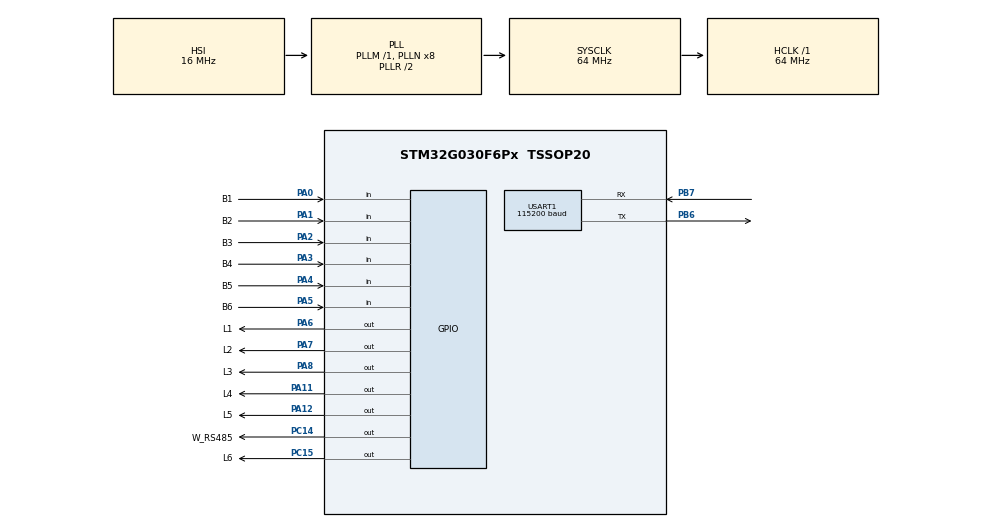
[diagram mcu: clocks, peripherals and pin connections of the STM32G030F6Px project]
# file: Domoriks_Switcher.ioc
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Dma.Request0=USART1_RX
Dma.USART1_RX.0.Direction=DMA_PERIPH_TO_MEMORY
Dma.USART1_RX.0.EventEnable=DISABLE
Dma.USART1_RX.0.Instance=DMA1_Channel1
Dma.USART1_RX.0.MemDataAlignment=DMA_MDATAALIGN_BYTE
Dma.USART1_RX.0.MemInc=DMA_MINC_ENABLE
Dma.USART1_RX.0.Mode=DMA_NORMAL
Dma.USART1_RX.0.PeriphDataAlignment=DMA_PDATAALIGN_BYTE
Dma.USART1_RX.0.PeriphInc=DMA_PINC_DISABLE
Dma.USART1_RX.0.Polarity=HAL_DMAMUX_REQ_GEN_RISING
Dma.USART1_RX.0.Priority=DMA_PRIORITY_LOW
Dma.USART1_RX.0.RequestNumber=1
Dma.USART1_RX.0.SignalID=NONE
Dma.USART1_RX.0.SyncEnable=DISABLE
Dma.USART1_RX.0.SyncPolarity=HAL_DMAMUX_SYNC_NO_EVENT
Dma.USART1_RX.0.SyncRequestNumber=1
Dma.USART1_RX.0.SyncSignalID=NONE
IWDG.Prescaler=IWDG_PRESCALER_256
IWDG.Reload=375
IWDG.Window=375
Mcu.Family=STM32G0
Mcu.Name=STM32G030F6Px
Mcu.Package=TSSOP20
NVIC.DMA1_Channel1_IRQn=true\:0\:0\:false\:false\:true\:false\:true\:true
NVIC.FLASH_IRQn=true\:0\:0\:false\:false\:true\:true\:true\:true
NVIC.TIM14_IRQn=true\:1\:0\:true\:false\:true\:true\:true\:true
NVIC.USART1_IRQn=true\:1\:0\:true\:false\:true\:true\:true\:true
PA0.GPIO_Label=B1
PA0.Signal=GPIO_Input
PA1.GPIO_Label=B2
PA1.Signal=GPIO_Input
PA11\ [PA9].GPIO_Label=L4
PA11\ [PA9].Signal=GPIO_Output
PA12\ [PA10].GPIO_Label=L5
PA12\ [PA10].Signal=GPIO_Output
PA13.Mode=Serial_Wire
PA13.Signal=SYS_SWDIO
PA14-BOOT0.Mode=Serial_Wire
PA14-BOOT0.Signal=SYS_SWCLK
PA14-BOOT0__PA15.StandardMode=true
PA2.GPIO_Label=B3
PA2.Signal=GPIO_Input
PA3.GPIO_Label=B4
PA3.Signal=GPIO_Input
PA4.GPIO_Label=B5
PA4.Signal=GPIO_Input
PA5.GPIO_Label=B6
PA5.Signal=GPIO_Input
PA6.GPIO_Label=L1
PA6.Signal=GPIO_Output
PA7.GPIO_Label=L2
PA7.Signal=GPIO_Output
PA8.GPIO_Label=L3
PA8.Signal=GPIO_Output
PB0__PB1__PB2__PA8.StandardMode=true
PB3__PB4__PB5__PB6.StandardMode=true
PB6.GPIO_FM6=SYSCFG_FASTMODEPLUS_PB6
PB6.GPIO_Speed=GPIO_SPEED_FREQ_MEDIUM
PB6.Mode=Asynchronous
PB6.Signal=USART1_TX
PB7.Mode=Asynchronous
PB7.Signal=USART1_RX
PB7__PB8.StandardMode=true
PC14-OSC32_IN\ (PC14).GPIO_Label=W_RS485
PC14-OSC32_IN\ (PC14).Signal=GPIO_Output
PC14-OSC32_IN\ (PC14)__PB9.StandardMode=true
PC15-OSC32_OUT\ (PC15).GPIO_Label=L6
PC15-OSC32_OUT\ (PC15).Signal=GPIO_Output
ProjectManager.HeapSize=0x200
ProjectManager.StackSize=0x400
ProjectManager.TargetToolchain=STM32CubeIDE
RCC.ADCFreq_Value=64000000
RCC.AHBFreq_Value=64000000
RCC.CortexFreq_Value=64000000
RCC.EXTERNAL_CLOCK_VALUE=12288000
RCC.HCLKFreq_Value=64000000
RCC.HSE_VALUE=8000000
RCC.HSI_VALUE=16000000
RCC.LSE_VALUE=32768
RCC.SYSCLKFreq_VALUE=64000000
RCC.SYSCLKSource=RCC_SYSCLKSOURCE_PLLCLK
RCC.USART1CLockSelection=RCC_USART1CLKSOURCE_SYSCLK
RCC.VCOOutputFreq_Value=128000000
TIM14.AutoReloadPreload=TIM_AUTORELOAD_PRELOAD_ENABLE
TIM14.Period=39999
TIM14.Prescaler=15
USART1.BaudRate=115200
USART1.DMADisableonRxErrorParam=ADVFEATURE_DMA_DISABLEONRXERROR
USART1.OverSampling=UART_OVERSAMPLING_16
USART1.VirtualMode-Asynchronous=VM_ASYNC
VP_IWDG_VS_IWDG.Mode=IWDG_Activate
VP_TIM14_VS_ClockSourceINT.Mode=Enable_Timer
board=custom

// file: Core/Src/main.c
/* USER CODE BEGIN Header */
/**
  ******************************************************************************
  * @file           : main.c
  * @brief          : Main program body
  ******************************************************************************
  * @attention
  *
  * Copyright (c) 2022 STMicroelectronics.
  * All rights reserved.
  *
  * This software is licensed under terms that can be found in the LICENSE file
  * in the root directory of this software component.
  * If no LICENSE file comes with this software, it is provided AS-IS.
  *
  ******************************************************************************
  */
/* USER CODE END Header */
#include "main.h"

/* USER CODE BEGIN Includes */
#include <stdbool.h>
#include <stdint.h>

#include "timer.h"

#include "Actions/actions.h"
#include "Flash/flash.h"

#include "IO/inputs.h"
#include "IO/input_handler.h"

#include "IO/outputs.h"

#include "Modbus/modbus.h"
#include "Modbus/modbusm.h"
#include "Modbus/modbus_ascii.h"
#include "Modbus/modbus_rtu.h"
#include "Modbus/modbusm_handler.h"

#include "Actions/actions.h"
/* USER CODE END Includes */

IWDG_HandleTypeDef hiwdg;

TIM_HandleTypeDef htim14;

UART_HandleTypeDef huart1;
DMA_HandleTypeDef hdma_usart1_rx;

void SystemClock_Config(void);
static void MX_GPIO_Init(void);
static void MX_DMA_Init(void);
static void MX_USART1_UART_Init(void);
static void MX_TIM14_Init(void);
static void MX_IWDG_Init(void);

/* USER CODE BEGIN 0 */
uint8_t MODBUS_ID;
//#define UPLOAD_NEW_MODBUS_ID
#ifdef UPLOAD_NEW_MODBUS_ID
  __attribute__((section(".modbus_id"))) const uint8_t new_id = 1;  // Logic ID, e.g., 1
#endif
//#define NEWACTIONS

uint8_t uart_rxBuffer[UART_BUFFER_SIZE] = { 0 };
uint8_t new_rxdata = 0;
uint16_t rxDataLen = 0;

/* USER CODE END 0 */

int main(void)
{

  /* MCU Configuration--------------------------------------------------------*/

  /* Reset of all peripherals, Initializes the Flash interface and the Systick. */
  HAL_Init();

  /* Configure the system clock */
  SystemClock_Config();

  /* Initialize all configured peripherals */
  MX_GPIO_Init();
  MX_DMA_Init();
  MX_USART1_UART_Init();
  MX_TIM14_Init();
  MX_IWDG_Init();
  /* USER CODE BEGIN 2 */
  HAL_TIM_Base_Start_IT(&htim14);

  HAL_UARTEx_ReceiveToIdle_DMA(&huart1, uart_rxBuffer, UART_BUFFER_SIZE);
  __HAL_UART_ENABLE_IT(&huart1, UART_IT_IDLE);
  __HAL_DMA_DISABLE_IT(&hdma_usart1_rx, DMA_IT_HT);

  MODBUS_ID = *(uint8_t*)MODBUS_ID_ADDRESS;

  HAL_GPIO_WritePin(L6_GPIO_Port, L6_Pin, 0);
  HAL_GPIO_WritePin(L5_GPIO_Port, L5_Pin, 0);
  HAL_GPIO_WritePin(L4_GPIO_Port, L4_Pin, 0);
  HAL_GPIO_WritePin(L3_GPIO_Port, L3_Pin, 0);
  HAL_GPIO_WritePin(L2_GPIO_Port, L2_Pin, !0);
  HAL_GPIO_WritePin(L1_GPIO_Port, L1_Pin, !0);
  HAL_IWDG_Refresh(&hiwdg);
  HAL_Delay(500);

  for (int i = 0; i < MODBUS_ID / 10; i++)
  {
	  HAL_IWDG_Refresh(&hiwdg);
	  HAL_GPIO_WritePin(L1_GPIO_Port, L1_Pin, !1);
	  HAL_Delay(250);
	  HAL_GPIO_WritePin(L1_GPIO_Port, L1_Pin, !0);
	  HAL_Delay(150);
  }

  HAL_IWDG_Refresh(&hiwdg);
  HAL_Delay(500);

  for (int i = 0; i < MODBUS_ID % 10; i++)
  {
	  HAL_IWDG_Refresh(&hiwdg);
	  HAL_GPIO_WritePin(L1_GPIO_Port, L1_Pin, !1);
	  HAL_Delay(250);
	  HAL_GPIO_WritePin(L1_GPIO_Port, L1_Pin, !0);
	  HAL_Delay(150);
  }

  HAL_IWDG_Refresh(&hiwdg);
  uint32_t timer_blink = TIMER_SET();
  HAL_GPIO_WritePin(W_RS485_GPIO_Port, W_RS485_Pin, 0); //Set RS485 in read mode

#ifdef NEWACTIONS

//	Action action;
//	Action delayAction;
//	uint32_t delay;
//	uint8_t pwm;
//	uint8_t id;
//	uint8_t output;      //current domoriks devices only have a max of 6 outputs increase if needed
//	uint8_t send;		   //1 = output, 2 feature, 3 send extraEvent;
//	uint8_t extraEventId;

  EventAction input1_singlePress = { toggle, 0, 0, 100, 64, 1, 0, 1 };
  EventAction extraAction1 =	   { toggle, 0, 0, 100, 64, 2, 0, 2 };
  EventAction extraAction2 =       { toggle, 0, 0, 100, 64, 3, 0, 3 };
  EventAction extraAction3 =       { toggle, 0, 0, 100, 64, 4, 0, 4 };
  EventAction extraAction4 =       { toggle, 0, 0, 100, 64, 5, 0, 5 };
  EventAction extraAction5 =       { toggle, 0, 0, 100, 64, 6, 0, 6 };
  EventAction extraAction6 =       { toggle, 0, 0, 100, 64, 7, 0, 7 };
  EventAction extraAction7 =       { toggle, 0, 0, 100, 64, 8, 0, 8 };
  EventAction extraAction8 =       { toggle, 0, 0, 100, 64, 9, 0, 9 };
  EventAction extraAction9 =       { toggle, 0, 0, 100, 64, 10, 0, 10 };
  EventAction extraAction10 =      { toggle, 0, 0, 100, 64, 11, 0, 11 };
  EventAction extraAction11 =      { toggle, 0, 0, 100, 64, 12, 0, 12 };
  EventAction extraAction12 =      { toggle, 0, 0, 100, 64, 13, 0, 13 };
  EventAction extraAction13 =      { toggle, 0, 0, 100, 64, 14, 0, 14 };
  EventAction extraAction14 =      { toggle, 0, 0, 100, 64, 15, 0, 15 };
  EventAction extraAction15 =      { toggle, 0, 0, 100, 64, 16, 0, 0 };

  memcpy((uint8_t*)&inputActions[0].singlePress, (uint8_t*)&input1_singlePress, sizeof(EventAction));
//  memcpy((uint8_t*)&inputActions[1].singlePress, (uint8_t*)&input2_singlePress, sizeof(EventAction));
//  memcpy((uint8_t*)&inputActions[2].singlePress, (uint8_t*)&input3_singlePress, sizeof(EventAction));
//  memcpy((uint8_t*)&inputActions[3].singlePress, (uint8_t*)&input4_singlePress, sizeof(EventAction));

  //memcpy((uint8_t*)&inputActions[0].doublePress, (uint8_t*)&input1_doublePress, sizeof(EventAction));
//  memcpy((uint8_t*)&inputActions[1].doublePress, (uint8_t*)&input2_doublePress, sizeof(EventAction));
//  memcpy((uint8_t*)&inputActions[2].doublePress, (uint8_t*)&input3_doublePress, sizeof(EventAction));
//  memcpy((uint8_t*)&inputActions[3].doublePress, (uint8_t*)&input4_doublePress, sizeof(EventAction));

  //memcpy((uint8_t*)&inputActions[0].longPress, (uint8_t*)&input1_longPress, sizeof(EventAction));
//  memcpy((uint8_t*)&inputActions[1].longPress, (uint8_t*)&input2_longPress, sizeof(EventAction));
//  memcpy((uint8_t*)&inputActions[2].longPress, (uint8_t*)&input3_longPress, sizeof(EventAction));
//  memcpy((uint8_t*)&inputActions[3].longPress, (uint8_t*)&input4_longPress, sizeof(EventAction));

  memcpy((uint8_t*)&extraActions[0], (uint8_t*)&extraAction1, sizeof(EventAction));
  memcpy((uint8_t*)&extraActions[1], (uint8_t*)&extraAction2, sizeof(EventAction));
  memcpy((uint8_t*)&extraActions[2], (uint8_t*)&extraAction3, sizeof(EventAction));
  memcpy((uint8_t*)&extraActions[3], (uint8_t*)&extraAction4, sizeof(EventAction));
  memcpy((uint8_t*)&extraActions[4], (uint8_t*)&extraAction5, sizeof(EventAction));
  memcpy((uint8_t*)&extraActions[5], (uint8_t*)&extraAction6, sizeof(EventAction));
  memcpy((uint8_t*)&extraActions[6], (uint8_t*)&extraAction7, sizeof(EventAction));
  memcpy((uint8_t*)&extraActions[7], (uint8_t*)&extraAction8, sizeof(EventAction));
  memcpy((uint8_t*)&extraActions[8], (uint8_t*)&extraAction9, sizeof(EventAction));
  memcpy((uint8_t*)&extraActions[9], (uint8_t*)&extraAction10, sizeof(EventAction));
  memcpy((uint8_t*)&extraActions[10], (uint8_t*)&extraAction11, sizeof(EventAction));
  memcpy((uint8_t*)&extraActions[11], (uint8_t*)&extraAction12, sizeof(EventAction));
  memcpy((uint8_t*)&extraActions[12], (uint8_t*)&extraAction13, sizeof(EventAction));
  memcpy((uint8_t*)&extraActions[13], (uint8_t*)&extraAction14, sizeof(EventAction));
  memcpy((uint8_t*)&extraActions[14], (uint8_t*)&extraAction15, sizeof(EventAction));

  Flash_Erase(USERDATA_ORIGIN, USERDATA_LENGTH);
  Flash_WriteInputs(inputs);
  Flash_WriteInputActions(inputActions);
  Flash_WriteExtraActions(extraActions);
  Flash_WriteOutputs(outputs);
#endif

  Flash_ReadInputs(inputs);
  Flash_ReadInputActions(inputActions);
  Flash_ReadExtraActions(extraActions);
  Flash_ReadOutputs(outputs);

  /* USER CODE END 2 */

  /* Infinite loop */
  /* USER CODE BEGIN WHILE */
  HAL_TIM_Base_Start_IT(&htim14);

  while (1)
  {
	//feed the dog
	HAL_IWDG_Refresh(&hiwdg); 		//375 * 8ms = 3sec
									//256ms 32 * (32000khz/256=8ms) OLD

    //call every 10ms
    //GLOBAL_TIMER_TICK(); -> interrupt (done in stm32g0xxit.c)

    if (TIMER_ELAPSED_MS(timer_blink, 1000)) {
      timer_blink = TIMER_SET();

    }
    //read inputs
    update_inputs();

    //input handler
    input_handler();

    //prep registers
    modbus_get_outputs();

    //modbus RS485
    modbus();

    //Parse single output
    modbus_set_outputs();

    modbus_parse_register(); // always after set. this write outputs directly
    modbus_parse_action_update();

    //write outputs
    update_outputs();
    /* USER CODE END WHILE */

  }
}

void SystemClock_Config(void)
{
  RCC_OscInitTypeDef RCC_OscInitStruct = {0};
  RCC_ClkInitTypeDef RCC_ClkInitStruct = {0};

  /** Configure the main internal regulator output voltage
  */
  HAL_PWREx_ControlVoltageScaling(PWR_REGULATOR_VOLTAGE_SCALE1);

  /** Initializes the RCC Oscillators according to the specified parameters
  * in the RCC_OscInitTypeDef structure.
  */
  RCC_OscInitStruct.OscillatorType = RCC_OSCILLATORTYPE_HSI|RCC_OSCILLATORTYPE_LSI;
  RCC_OscInitStruct.HSIState = RCC_HSI_ON;
  RCC_OscInitStruct.HSIDiv = RCC_HSI_DIV1;
  RCC_OscInitStruct.HSICalibrationValue = RCC_HSICALIBRATION_DEFAULT;
  RCC_OscInitStruct.LSIState = RCC_LSI_ON;
  RCC_OscInitStruct.PLL.PLLState = RCC_PLL_ON;
  RCC_OscInitStruct.PLL.PLLSource = RCC_PLLSOURCE_HSI;
  RCC_OscInitStruct.PLL.PLLM = RCC_PLLM_DIV1;
  RCC_OscInitStruct.PLL.PLLN = 8;
  RCC_OscInitStruct.PLL.PLLP = RCC_PLLP_DIV2;
  RCC_OscInitStruct.PLL.PLLR = RCC_PLLR_DIV2;
  if (HAL_RCC_OscConfig(&RCC_OscInitStruct) != HAL_OK)
  {
    Error_Handler();
  }

  /** Initializes the CPU, AHB and APB buses clocks
  */
  RCC_ClkInitStruct.ClockType = RCC_CLOCKTYPE_HCLK|RCC_CLOCKTYPE_SYSCLK
                              |RCC_CLOCKTYPE_PCLK1;
  RCC_ClkInitStruct.SYSCLKSource = RCC_SYSCLKSOURCE_PLLCLK;
  RCC_ClkInitStruct.AHBCLKDivider = RCC_SYSCLK_DIV1;
  RCC_ClkInitStruct.APB1CLKDivider = RCC_HCLK_DIV1;

  if (HAL_RCC_ClockConfig(&RCC_ClkInitStruct, FLASH_LATENCY_2) != HAL_OK)
  {
    Error_Handler();
  }
}

static void MX_IWDG_Init(void)
{

  hiwdg.Instance = IWDG;
  hiwdg.Init.Prescaler = IWDG_PRESCALER_256;
  hiwdg.Init.Window = 375;
  hiwdg.Init.Reload = 375;
  if (HAL_IWDG_Init(&hiwdg) != HAL_OK)
  {
    Error_Handler();
  }

}

static void MX_TIM14_Init(void)
{

  htim14.Instance = TIM14;
  htim14.Init.Prescaler = 15;
  htim14.Init.CounterMode = TIM_COUNTERMODE_UP;
  htim14.Init.Period = 39999;
  htim14.Init.ClockDivision = TIM_CLOCKDIVISION_DIV1;
  htim14.Init.AutoReloadPreload = TIM_AUTORELOAD_PRELOAD_ENABLE;
  if (HAL_TIM_Base_Init(&htim14) != HAL_OK)
  {
    Error_Handler();
  }

}

static void MX_USART1_UART_Init(void)
{

  huart1.Instance = USART1;
  huart1.Init.BaudRate = 115200;
  huart1.Init.WordLength = UART_WORDLENGTH_8B;
  huart1.Init.StopBits = UART_STOPBITS_1;
  huart1.Init.Parity = UART_PARITY_NONE;
  huart1.Init.Mode = UART_MODE_TX_RX;
  huart1.Init.HwFlowCtl = UART_HWCONTROL_NONE;
  huart1.Init.OverSampling = UART_OVERSAMPLING_16;
  huart1.Init.OneBitSampling = UART_ONE_BIT_SAMPLE_DISABLE;
  huart1.Init.ClockPrescaler = UART_PRESCALER_DIV1;
  huart1.AdvancedInit.AdvFeatureInit = UART_ADVFEATURE_DMADISABLEONERROR_INIT;
  huart1.AdvancedInit.DMADisableonRxError = UART_ADVFEATURE_DMA_DISABLEONRXERROR;
  if (HAL_UART_Init(&huart1) != HAL_OK)
  {
    Error_Handler();
  }
  if (HAL_UARTEx_SetTxFifoThreshold(&huart1, UART_TXFIFO_THRESHOLD_1_8) != HAL_OK)
  {
    Error_Handler();
  }
  if (HAL_UARTEx_SetRxFifoThreshold(&huart1, UART_RXFIFO_THRESHOLD_1_8) != HAL_OK)
  {
    Error_Handler();
  }
  if (HAL_UARTEx_DisableFifoMode(&huart1) != HAL_OK)
  {
    Error_Handler();
  }

}

static void MX_DMA_Init(void)
{

  /* DMA controller clock enable */
  __HAL_RCC_DMA1_CLK_ENABLE();

  /* DMA interrupt init */
  /* DMA1_Channel1_IRQn interrupt configuration */
  HAL_NVIC_SetPriority(DMA1_Channel1_IRQn, 0, 0);
  HAL_NVIC_EnableIRQ(DMA1_Channel1_IRQn);

}

static void MX_GPIO_Init(void)
{
  GPIO_InitTypeDef GPIO_InitStruct = {0};

  /* GPIO Ports Clock Enable */
  __HAL_RCC_GPIOB_CLK_ENABLE();
  __HAL_RCC_GPIOC_CLK_ENABLE();
  __HAL_RCC_GPIOA_CLK_ENABLE();

  /*Configure GPIO pin Output Level */
  HAL_GPIO_WritePin(GPIOC, W_RS485_Pin|L6_Pin, GPIO_PIN_RESET);

  /*Configure GPIO pin Output Level */
  HAL_GPIO_WritePin(GPIOA, L1_Pin|L2_Pin|L3_Pin|L4_Pin
                          |L5_Pin, GPIO_PIN_RESET);

  /*Configure GPIO pins : W_RS485_Pin L6_Pin */
  GPIO_InitStruct.Pin = W_RS485_Pin|L6_Pin;
  GPIO_InitStruct.Mode = GPIO_MODE_OUTPUT_PP;
  GPIO_InitStruct.Pull = GPIO_NOPULL;
  GPIO_InitStruct.Speed = GPIO_SPEED_FREQ_LOW;
  HAL_GPIO_Init(GPIOC, &GPIO_InitStruct);

  /*Configure GPIO pins : B1_Pin B2_Pin B3_Pin B4_Pin
                           B5_Pin B6_Pin */
  GPIO_InitStruct.Pin = B1_Pin|B2_Pin|B3_Pin|B4_Pin
                          |B5_Pin|B6_Pin;
  GPIO_InitStruct.Mode = GPIO_MODE_INPUT;
  GPIO_InitStruct.Pull = GPIO_NOPULL;
  HAL_GPIO_Init(GPIOA, &GPIO_InitStruct);

  /*Configure GPIO pins : L1_Pin L2_Pin L3_Pin L4_Pin
                           L5_Pin */
  GPIO_InitStruct.Pin = L1_Pin|L2_Pin|L3_Pin|L4_Pin
                          |L5_Pin;
  GPIO_InitStruct.Mode = GPIO_MODE_OUTPUT_PP;
  GPIO_InitStruct.Pull = GPIO_NOPULL;
  GPIO_InitStruct.Speed = GPIO_SPEED_FREQ_LOW;
  HAL_GPIO_Init(GPIOA, &GPIO_InitStruct);

}

/* USER CODE BEGIN 4 */
void HAL_UARTEx_RxEventCallback(UART_HandleTypeDef *huart, uint16_t size)
{
	if (huart->Instance == USART1)
	{
		__HAL_UART_CLEAR_IDLEFLAG(huart);
		uint8_t overflow = 0;
		if (size >= UART_BUFFER_SIZE) // Check if buffer might be full
		{
			// Wait for idle line to ensure complete reception
			while (__HAL_UART_GET_FLAG(huart, UART_FLAG_IDLE) == RESET) {}

			// Check for overflow condition
			if (__HAL_UART_GET_FLAG(huart, UART_FLAG_ORE) != RESET)
			{
				overflow = 1;
				__HAL_UART_CLEAR_OREFLAG(huart); // Clear overflow flag
				//HAL_UART_Transmit(huart, (uint8_t *)"\n\rError: overflow of the receive buffer\n\r", 41, 100);
			}
		}

		if (!overflow)
		{
			rxDataLen = size;
			new_rxdata = 1;
		} else {
			HAL_UARTEx_ReceiveToIdle_DMA(&huart1, uart_rxBuffer, UART_BUFFER_SIZE);
			__HAL_DMA_DISABLE_IT(&hdma_usart1_rx, DMA_IT_HT); // Disable half-transfer interrupt if not needed
			//clear buffer (needed after overflow)
			memset(uart_rxBuffer, 0, UART_BUFFER_SIZE);
			rxDataLen = 0;
		}
	}
}

void HAL_UART_ErrorCallback(UART_HandleTypeDef *huart)
{
	if (huart->Instance == USART1)
	{
		__HAL_UART_CLEAR_FLAG(huart, UART_CLEAR_PEF | UART_CLEAR_FEF | UART_CLEAR_NEF | UART_CLEAR_OREF);
		HAL_UART_Abort_IT(huart);
		HAL_UART_DeInit(huart);
		HAL_UART_Init(huart);

		HAL_UARTEx_ReceiveToIdle_DMA(&huart1, uart_rxBuffer, UART_BUFFER_SIZE);
		__HAL_DMA_DISABLE_IT(&hdma_usart1_rx, DMA_IT_HT); // Disable half-transfer interrupt if not needed
	}
}

//void HAL_UART_RxCpltCallback(UART_HandleTypeDef* huart)
//{
//  timer_lastbyte = TIMER_SET();						     //reset timer (time passed since last recieved byte)
//  new_uartstream = true;								 //indicate new message
//  received_buffer[uart_index++] = uart_received_byte;    //copy received byte and shift index
//
//  if (uart_index >= RECEIVE_BUFFER_SIZE) {
//    new_uartstream = false;
//    uart_index = 0;
//    memset(received_buffer, 0, sizeof(received_buffer));
//  }
//  HAL_UART_Receive_IT(&huart1, &uart_received_byte, 1); //Set new interrupt
//}

/* USER CODE END 4 */

void Error_Handler(void)
{
  __disable_irq();
  while (1)
  {
  }
}
